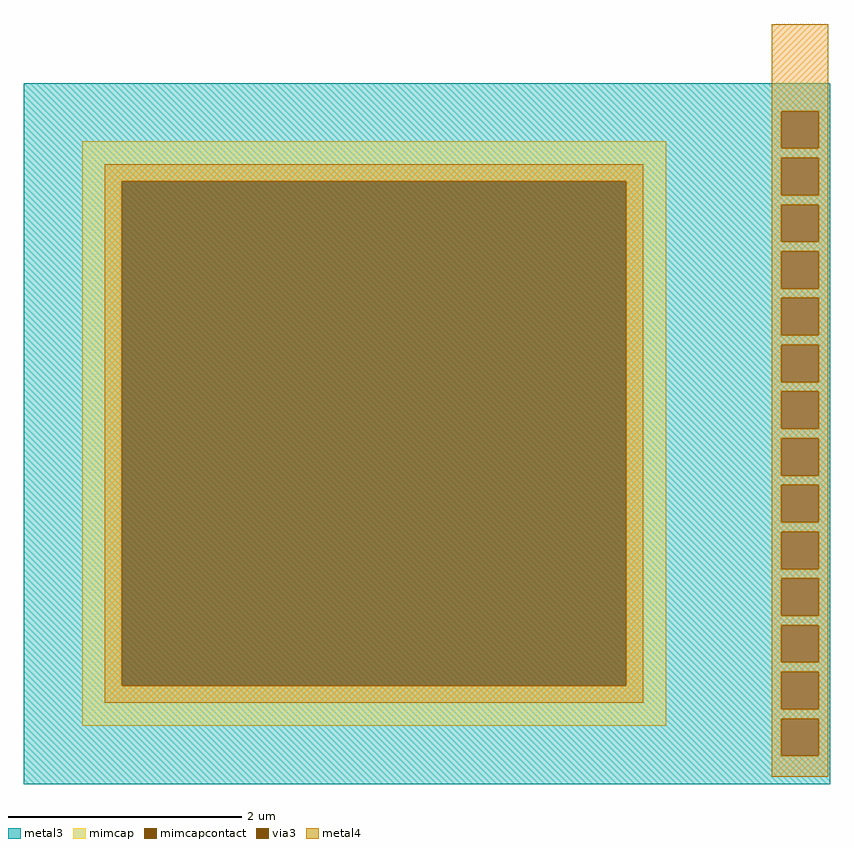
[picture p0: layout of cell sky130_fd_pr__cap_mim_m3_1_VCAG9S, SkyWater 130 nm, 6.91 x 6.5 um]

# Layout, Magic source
magic
tech sky130A
magscale 1 2
<< metal3 >>
rect -650 552 731 600
rect -650 488 647 552
rect 711 488 731 552
rect -650 472 731 488
rect -650 408 647 472
rect 711 408 731 472
rect -650 392 731 408
rect -650 328 647 392
rect 711 328 731 392
rect -650 312 731 328
rect -650 248 647 312
rect 711 248 731 312
rect -650 232 731 248
rect -650 168 647 232
rect 711 168 731 232
rect -650 152 731 168
rect -650 88 647 152
rect 711 88 731 152
rect -650 72 731 88
rect -650 8 647 72
rect 711 8 731 72
rect -650 -8 731 8
rect -650 -72 647 -8
rect 711 -72 731 -8
rect -650 -88 731 -72
rect -650 -152 647 -88
rect 711 -152 731 -88
rect -650 -168 731 -152
rect -650 -232 647 -168
rect 711 -232 731 -168
rect -650 -248 731 -232
rect -650 -312 647 -248
rect 711 -312 731 -248
rect -650 -328 731 -312
rect -650 -392 647 -328
rect 711 -392 731 -328
rect -650 -408 731 -392
rect -650 -472 647 -408
rect 711 -472 731 -408
rect -650 -488 731 -472
rect -650 -552 647 -488
rect 711 -552 731 -488
rect -650 -600 731 -552
<< via3 >>
rect 647 488 711 552
rect 647 408 711 472
rect 647 328 711 392
rect 647 248 711 312
rect 647 168 711 232
rect 647 88 711 152
rect 647 8 711 72
rect 647 -72 711 -8
rect 647 -152 711 -88
rect 647 -232 711 -168
rect 647 -312 711 -248
rect 647 -392 711 -328
rect 647 -472 711 -408
rect 647 -552 711 -488
<< mimcap >>
rect -550 432 450 500
rect -550 -432 -482 432
rect 382 -432 450 432
rect -550 -500 450 -432
<< mimcapcontact >>
rect -482 -432 382 432
<< metal4 >>
rect 631 552 727 701
rect 631 488 647 552
rect 711 488 727 552
rect 631 472 727 488
rect -511 432 411 461
rect -511 -432 -482 432
rect 382 -432 411 432
rect -511 -461 411 -432
rect 631 408 647 472
rect 711 408 727 472
rect 631 392 727 408
rect 631 328 647 392
rect 711 328 727 392
rect 631 312 727 328
rect 631 248 647 312
rect 711 248 727 312
rect 631 232 727 248
rect 631 168 647 232
rect 711 168 727 232
rect 631 152 727 168
rect 631 88 647 152
rect 711 88 727 152
rect 631 72 727 88
rect 631 8 647 72
rect 711 8 727 72
rect 631 -8 727 8
rect 631 -72 647 -8
rect 711 -72 727 -8
rect 631 -88 727 -72
rect 631 -152 647 -88
rect 711 -152 727 -88
rect 631 -168 727 -152
rect 631 -232 647 -168
rect 711 -232 727 -168
rect 631 -248 727 -232
rect 631 -312 647 -248
rect 711 -312 727 -248
rect 631 -328 727 -312
rect 631 -392 647 -328
rect 711 -392 727 -328
rect 631 -408 727 -392
rect 631 -472 647 -408
rect 711 -472 727 -408
rect 631 -488 727 -472
rect 631 -552 647 -488
rect 711 -552 727 -488
rect 631 -588 727 -552
<< properties >>
string FIXED_BBOX -650 -600 550 600
<< end >>
